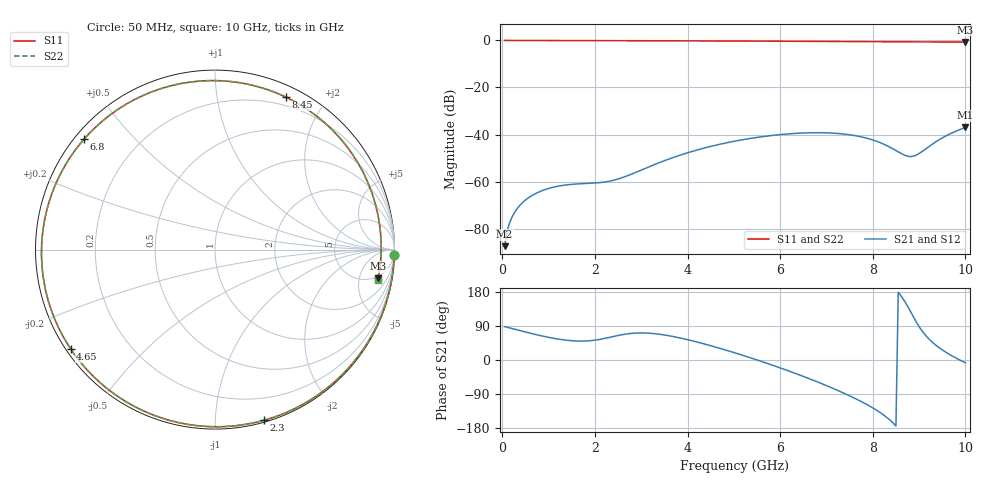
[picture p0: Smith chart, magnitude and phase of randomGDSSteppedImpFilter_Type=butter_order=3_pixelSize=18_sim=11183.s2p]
! freq	dB(S11)	phase(S11)	dB(S12)	phase(S12)
!  dB(S21)	phase(S21)	dB(S22)	phase(S22)
!S-par simulation data
#  GHz  S  DB  R 50
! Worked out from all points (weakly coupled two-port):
!   200 points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, 50 MHz to 10 GHz, reference 50 ohm
!   highest |S21| = -37.00 dB at 10 GHz (marker M1); lowest = -87.5 dB at 50 MHz (marker M2)
!   lowest |S11| = -0.7 dB at 10 GHz (marker M3), VSWR 25.13, Z = 218 - j474 ohm
!   |S11| at or under -10 dB: nowhere
!   |S22| runs from -0.7 to 0.0 dB; largest |S21 - S12| = 0
!   S11 on the Smith chart (normalised r, x): 50 MHz: 2, -68; 2.3 GHz: 0.01, -1.33; 4.65 GHz: 0.01, -0.31; 6.8 GHz: 0.03, +0.37; 8.45 GHz: 0.11, +1.56; 10 GHz: 4, -9
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0.05  -0.01 -1.7  -87.47 88.1  -87.47 88.1  -0.01 -1.7
0.1  -0.01 -3.3  -81.48 86.5  -81.48 86.5  -0.01 -3.3
0.25  -0.01 -8.3  -73.61 81.7  -73.61 81.7  -0.01 -8.3
0.35  -0.01 -11.6  -70.78 78.6  -70.78 78.6  -0.01 -11.6
0.65  -0.03 -21.5  -65.83 69.3  -65.83 69.3  -0.03 -21.4
1.1  -0.05 -36.1  -62.40 57.4  -62.40 57.4  -0.05 -36.1
1.75  -0.07 -56.8  -60.87 49.9  -60.87 49.9  -0.07 -56.8
2.3  -0.09 -74.0  -59.90 59.3  -59.90 59.3  -0.09 -74.0
3.4  -0.14 -107.5  -51.89 67.8  -51.89 67.8  -0.14 -107.5
4  -0.17 -125.6  -47.76 53.7  -47.76 53.7  -0.17 -125.6
4.65  -0.21 -145.5  -44.35 32.5  -44.35 32.5  -0.21 -145.6
5.05  -0.24 -158.1  -42.71 17.8  -42.71 17.8  -0.24 -158.2
5.9  -0.31 173.5  -40.23 -16.5  -40.23 -16.5  -0.31 173.4
6.7  -0.39 143.8  -39.23 -52.7  -39.23 -52.7  -0.39 143.6
6.8  -0.40 139.8  -39.22 -57.6  -39.22 -57.6  -0.41 139.6
7.65  -0.49 103.3  -40.59 -103.4  -40.59 -103.4  -0.50 102.9
8.35  -0.56 69.9  -45.17 -156.3  -45.17 -156.3  -0.56 69.5
8.45  -0.57 65.0  -46.24 -167.6  -46.24 -167.6  -0.57 64.5
8.75  -0.59 50.1  -49.20 142.1  -49.20 142.1  -0.59 49.6
8.9  -0.60 42.6  -49.07 108.7  -49.07 108.7  -0.60 42.1
9.45  -0.64 15.6  -42.03 31.0  -42.03 31.0  -0.64 15.0
10  -0.69 -10.0  -37.00 -7.5  -37.00 -7.5  -0.69 -10.6
